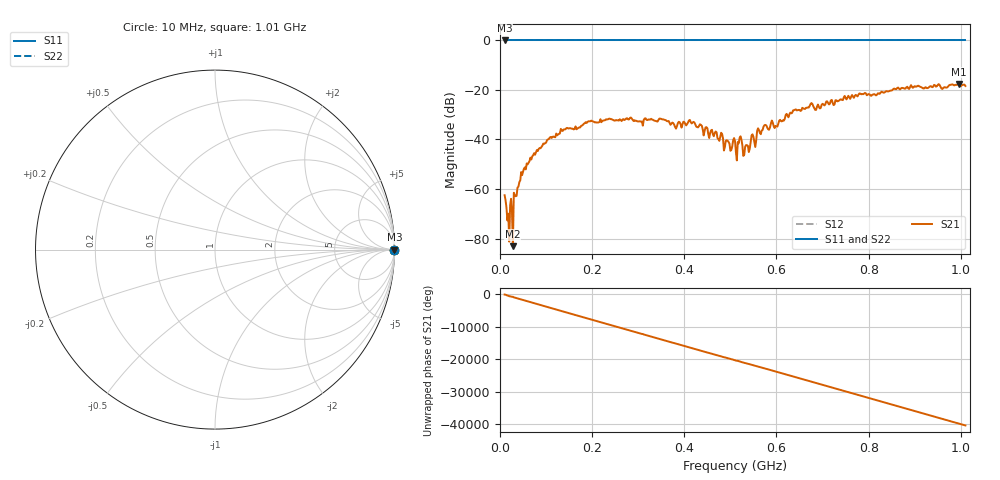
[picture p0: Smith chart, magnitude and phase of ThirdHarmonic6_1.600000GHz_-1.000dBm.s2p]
! 8/16/2025 7:04:42 PM
! C:\ANRITSUVNA\TEMP\TEMP.S2P
! CHANNEL.1
! TR.MEASUREMENT
! RAW.DATA
! RF.CORRECTION.OFF
! AVERAGING.OFF
! IF.BANDWIDTH: 5KHZ
! SWEEPTYPE:  FREQ.SWEEP(Linear)
! Reference Plane Port Info
! PORT:  PORT1  PORT2
! DISTANCE:  0  m  0  m
! TIME:  0  s  0  s
! PHASE.OFFSET:  0  deg.  0  deg.
! LOSS:  0  dB  0  dB
! REF.LOSS:  0  dB  0  dB
! REF.FREQ:  0  Hz  0  Hz
! Power Info
! POWER:  -20  dBm  -20  dBm
! EFF.POWER:  -20  dBm  -20  dBm
! SOURCE.ATTEN:  0  dB  0  dB
! TEST.ATTEN:  0  dB  0  dB
# GHZ S RI R 50.0
! FREQ.GHZ  S11RE  S11IM  S21RE  S21IM  S12RE  S12IM  S22RE  S22IM
!; PortSelection: Port_12
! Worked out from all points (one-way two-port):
!   501 points, 10 MHz to 1.01 GHz, reference 50 ohm
!   highest |S21| = -17.57 dB at 996 MHz (marker M1); lowest = -83.1 dB at 28 MHz (marker M2)
!   lowest |S11| = 0.0 dB at 10 MHz (marker M3)
!   |S11| at or under -10 dB: nowhere
!   |S22| runs from 0.0 to 0.0 dB; largest |S21 - S12| = 1.1
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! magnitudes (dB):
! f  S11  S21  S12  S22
! 10 MHz  0.0  -62.5  0.0  0.0
! 18 MHz  0.0  -70.0  0.0  0.0
! 24 MHz  0.0  -64.0  0.0  0.0
! 28 MHz  0.0  -83.1  0.0  0.0
! 50 MHz  0.0  -53.0  0.0  0.0
! 70 MHz  0.0  -46.8  0.0  0.0
! 136 MHz  0.0  -36.6  0.0  0.0
! 178 MHz  0.0  -34.4  0.0  0.0
! 344 MHz  0.0  -32.1  0.0  0.0
! 380 MHz  0.0  -35.0  0.0  0.0
! 416 MHz  0.0  -33.5  0.0  0.0
! 510 MHz  0.0  -40.6  0.0  0.0
! 516 MHz  0.0  -41.0  0.0  0.0
! 520 MHz  0.0  -39.3  0.0  0.0
! 532 MHz  0.0  -42.9  0.0  0.0
! 574 MHz  0.0  -34.2  0.0  0.0
! 598 MHz  0.0  -34.5  0.0  0.0
! 638 MHz  0.0  -28.2  0.0  0.0
! 678 MHz  0.0  -25.7  0.0  0.0
! 844 MHz  0.0  -20.5  0.0  0.0
! 996 MHz  0.0  -17.6  0.0  0.0
! 1.01 GHz  0.0  -18.4  0.0  0.0
